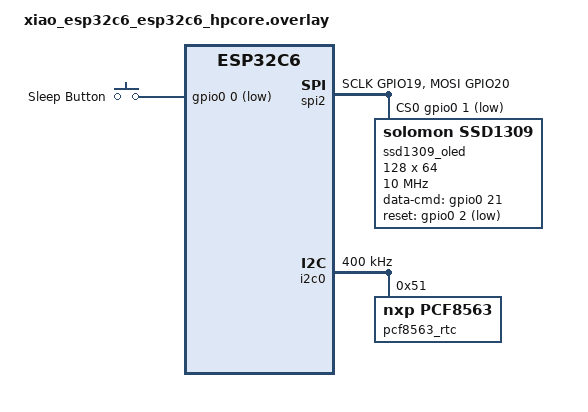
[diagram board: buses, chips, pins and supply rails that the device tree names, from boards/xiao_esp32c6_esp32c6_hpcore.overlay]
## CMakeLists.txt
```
#-------------------------------------------------------------------------------
# Zephyr Example Application
#
# Copyright (c) 2021 Nordic Semiconductor ASA
# SPDX-License-Identifier: Apache-2.0

cmake_minimum_required(VERSION 3.13.1)
find_package(Zephyr REQUIRED HINTS $ENV{ZEPHYR_BASE})

project(app LANGUAGES C)

target_sources(app PRIVATE
  src/main.c
  src/gui.c
  src/time_utils.c
  src/wifi.c
  src/power.c
  src/icons.c
  src/spleen.c
)
target_sources_ifdef(CONFIG_APP_WEB_DEBUG app PRIVATE
  src/log_backend_web.c
  src/http_log_server.c
)
target_include_directories(app PRIVATE include)

# Linker fragment for HTTP_RESOURCE_DEFINE iterable-alternate section
if(CONFIG_APP_WEB_DEBUG)
  zephyr_linker_sources(SECTIONS sections-rom.ld)
  zephyr_linker_section(
    NAME http_resource_desc_log_http_service
    KVMA RAM_REGION GROUP RODATA_REGION
  )
endif()

# The code below locates the git index file for this repository and adds it as a dependency for
# the application VERSION file so that if the repo has a new commit added, even if no files in
# the build have changed, the application version file will be regenerated with the new git commit
find_package(Git QUIET)
if(GIT_FOUND)
  execute_process(
    COMMAND ${GIT_EXECUTABLE} rev-parse --absolute-git-dir
    WORKING_DIRECTORY .
    OUTPUT_VARIABLE application_git_dir
    OUTPUT_STRIP_TRAILING_WHITESPACE
    ERROR_STRIP_TRAILING_WHITESPACE
    ERROR_VARIABLE stderr
    RESULT_VARIABLE return_code
  )
  # If there is an error e.g. it is not a git repo, we just silently ignore it and continue
  # without a dependency, this will be the case with freestanding applications.
  if(NOT return_code)
    if(NOT "${stderr}" STREQUAL "")
      message(WARNING "Application build version git rev-parse warned: ${stderr}")
    endif()

    set_property(TARGET app_version_h PROPERTY APP_VERSION_DEPENDS ${application_git_dir}/index)
  endif()
endif()
```

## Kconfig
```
# Copyright (c) 2021 Nordic Semiconductor ASA
# SPDX-License-Identifier: Apache-2.0
#
# This file is the application Kconfig entry point. All application Kconfig
# options can be defined here or included via other application Kconfig files.
# You can browse these options using the west targets menuconfig (terminal) or
# guiconfig (GUI).

menu "Zephyr"
source "Kconfig.zephyr"
endmenu

module = APP
module-str = APP
source "subsys/logging/Kconfig.template.log_config"

config APP_WEB_DEBUG
	bool "Enable HTTP log viewer + keep WiFi connected longer for debug"
	default n
	help
	  When enabled, the in-RAM log backend is exposed over HTTP on :80
	  and WiFi stays up for WEB_LOG_WINDOW_SECONDS after boot. When
	  disabled (release build), WiFi only stays up long enough to sync
	  NTP, then disconnects; device auto-sleeps soon after.
```

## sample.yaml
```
sample:
  description: LVGL animation with SSD1309 display and PCF8563 RTC on XIAO ESP32-C6
  name: time-since
common:
  build_only: true
  integration_platforms:
    - xiao_esp32c6/esp32c6/hpcore
tests:
  app.default: {}
```

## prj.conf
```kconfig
# Required for LVGL + display work on this app
CONFIG_MAIN_STACK_SIZE=8192

# Peripherals
CONFIG_DISPLAY=y
CONFIG_RTC=y

# LVGL core
CONFIG_LVGL=y
CONFIG_LV_Z_MEM_POOL_SIZE=8192
CONFIG_LV_Z_VDB_SIZE=64

# SSD1309 is monochrome
CONFIG_LV_COLOR_DEPTH_1=y
CONFIG_LV_Z_COLOR_MONO_HW_INVERSION=y

# Widgets/fonts used by this app
CONFIG_LV_USE_LABEL=y
CONFIG_LV_USE_LINE=y
CONFIG_LV_FONT_MONTSERRAT_14=y
CONFIG_LV_FONT_MONTSERRAT_10=y

# Per-device runtime power management. Lets idle peripherals (I2C, etc.)
# suspend between transactions. CONFIG_PM (system sleep) MUST stay off
# on this board — deep sleep is entered explicitly via sys_poweroff().
CONFIG_PM_DEVICE=y
CONFIG_PM_DEVICE_RUNTIME=y

# GPIO (sleep button) and reboot/poweroff
CONFIG_GPIO=y
CONFIG_REBOOT=y
CONFIG_POWEROFF=y

# Compiler — size optimizations reduce flash reads and overall power
CONFIG_SIZE_OPTIMIZATIONS=y

# ESP32 WiFi stack + NTP heap headroom
CONFIG_HEAP_MEM_POOL_SIZE=46144

# Logging — deferred mode, no UART backend. UART must stay off on this board
# (enabling the serial console freezes the device).
CONFIG_LOG=y
CONFIG_LOG_MODE_DEFERRED=y
CONFIG_LOG_DEFAULT_LEVEL=3
CONFIG_LOG_OUTPUT=y
CONFIG_LOG_PROCESS_THREAD_STACK_SIZE=2048
CONFIG_CONSOLE=n
CONFIG_UART_CONSOLE=n
CONFIG_LOG_BACKEND_UART=n
CONFIG_SERIAL=n

# WiFi (needed for NTP)
CONFIG_NETWORKING=y
CONFIG_WIFI=y
CONFIG_NET_L2_WIFI_MGMT=y
CONFIG_NET_CONFIG_SETTINGS=y
CONFIG_NET_CONFIG_INIT_TIMEOUT=0

# ESP32 WiFi: scan all 2.4 GHz channels, pick strongest, auto-reconnect.
# Modem sleep (WIFI_PS_MAX_MODEM) is set at runtime via NET_REQUEST_WIFI_PS
# in src/wifi.c after connect.
CONFIG_ESP32_WIFI_STA_SCAN_ALL=y
CONFIG_ESP32_WIFI_STA_RECONNECT=y

# DHCP
CONFIG_NET_IPV4=y
CONFIG_NET_DHCPV4=y

# Hostname for router DHCP table
CONFIG_NET_HOSTNAME_ENABLE=y
CONFIG_NET_HOSTNAME="time-since-box"

# NTP for time synchronization
CONFIG_SNTP=y
CONFIG_NET_SOCKETS=y
CONFIG_POSIX_API=y

# DNS resolver (needed for time.cloudflare.com)
CONFIG_DNS_RESOLVER=y
CONFIG_NET_SOCKETS_DNS_TIMEOUT=5000
```

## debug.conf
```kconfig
# Overlay for debug builds: enables the HTTP log viewer on :80.
# Use:  west build -b xiao_esp32c6/esp32c6/hpcore app -- -DEXTRA_CONF_FILE=debug.conf

CONFIG_APP_WEB_DEBUG=y

# HTTP server (serves / and /logs)
CONFIG_HTTP_SERVER=y
CONFIG_HTTP_PARSER=y
CONFIG_NET_TCP=y
CONFIG_NET_SOCKETS_POLL_MAX=6
CONFIG_HTTP_SERVER_MAX_CLIENTS=1
CONFIG_HTTP_SERVER_MAX_STREAMS=2
CONFIG_HTTP_SERVER_STACK_SIZE=2560

# Hostname (router DHCP + log viewer URL)
CONFIG_NET_HOSTNAME_ENABLE=y
CONFIG_NET_HOSTNAME="time-since-box"

# Bigger heap — webserver + HTML scratch need headroom
CONFIG_HEAP_MEM_POOL_SIZE=16384
```

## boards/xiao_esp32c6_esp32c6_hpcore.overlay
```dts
#include <zephyr/dt-bindings/i2c/i2c.h>
#include <zephyr/dt-bindings/pinctrl/esp32c6-pinctrl.h>

/ {
	chosen {
		zephyr,display = &ssd1309_oled;
	};

	aliases {
		rtc = &pcf8563_rtc;
		sw0 = &sleep_button;
	};

	buttons {
		compatible = "gpio-keys";
		sleep_button: sleep_button {
			gpios = <&gpio0 0 (GPIO_PULL_UP | GPIO_ACTIVE_LOW)>;
			label = "Sleep Button";
		};
	};
};

&pinctrl {
	spi2_oled_pins: spi2_oled_pins {
		group1 {
			pinmux = <SPIM2_SCLK_GPIO19>;
		};

		group2 {
			pinmux = <SPIM2_MOSI_GPIO20>;
			output-low;
		};
	};

	i2c0_rtc_pins: i2c0_rtc_pins {
		group1 {
			pinmux = <I2C0_SDA_GPIO22>,
				 <I2C0_SCL_GPIO23>;
			bias-pull-up;
			drive-open-drain;
			output-high;
		};
	};
};

&spi2 {
	status = "okay";
	pinctrl-0 = <&spi2_oled_pins>;
	pinctrl-names = "default";
	cs-gpios = <&gpio0 1 GPIO_ACTIVE_LOW>;

	ssd1309_oled: ssd1309@0 {
		compatible = "solomon,ssd1309";
		reg = <0>;
		spi-max-frequency = <10000000>;
		width = <128>;
		height = <64>;
		segment-offset = <0>;
		page-offset = <0>;
		display-offset = <0>;
		multiplex-ratio = <63>;
		segment-remap;
		com-invdir;
		prechargep = <0x22>;
		data-cmd-gpios = <&gpio0 21 GPIO_ACTIVE_HIGH>;
		reset-gpios = <&gpio0 2 GPIO_ACTIVE_LOW>;
		inversion-on;
		status = "okay";
	};
};

&i2c0 {
	status = "okay";
	clock-frequency = <I2C_BITRATE_FAST>;
	pinctrl-0 = <&i2c0_rtc_pins>;
	pinctrl-names = "default";

	pcf8563_rtc: pcf8563@51 {
		compatible = "nxp,pcf8563";
		reg = <0x51>;
		status = "okay";
	};
};
```

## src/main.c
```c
/*
 * SPDX-License-Identifier: Apache-2.0
 */

#include <errno.h>
#include <stdbool.h>
#include <time.h>

#include <lvgl.h>

#include <zephyr/device.h>
#include <zephyr/devicetree.h>
#include <zephyr/drivers/display.h>
#include <zephyr/drivers/gpio.h>
#include <zephyr/drivers/rtc.h>
#include <zephyr/kernel.h>
#include <zephyr/logging/log.h>
#include <zephyr/pm/device.h>

#include "gui.h"
#include "power.h"
#include "time_utils.h"
#include "wifi.h"

LOG_MODULE_REGISTER(main, LOG_LEVEL_DBG);

static const struct device *const rtc = DEVICE_DT_GET(DT_ALIAS(rtc));
static const struct gpio_dt_spec sleep_btn = GPIO_DT_SPEC_GET(DT_ALIAS(sw0), gpios);

static const uint32_t AUTO_SLEEP_SECONDS = 180;
static const uint32_t BTN_WAKE_GRACE_SECONDS = 3;
static const int64_t BTN_RELEASE_STABLE_MS = 50;
static const int64_t BTN_RELEASE_POLL_MS = 10;
static const uint32_t WIFI_PER_NET_TIMEOUT_MS = 8000;
static const int NTP_MAX_ATTEMPTS = 3;
static const uint32_t NTP_RETRY_DELAY_SECONDS = 5;
static const uint32_t WIFI_SYNC_ICON_MIN_SECONDS = 3;
static const int64_t WIFI_SYNC_ICON_BLINK_MS = 300;
static const int64_t GUI_TICK_MS = 100;

static struct gpio_callback sleep_btn_cb_data;
static volatile bool sleep_requested;
static volatile bool time_sync_blink;

static time_t base_epoch;
static int64_t base_uptime_ms;
static K_MUTEX_DEFINE(time_base_lock);
static K_THREAD_STACK_DEFINE(time_sync_stack, 6144);
static struct k_thread time_sync_thread_data;

static void sleep_btn_pressed(const struct device *dev, struct gpio_callback *cb,
			      uint32_t pins)
{
	sleep_requested = true;
}

static void capture_base(time_t epoch)
{
	k_mutex_lock(&time_base_lock, K_FOREVER);
	base_epoch = epoch;
	base_uptime_ms = k_uptime_get();
	k_mutex_unlock(&time_base_lock);
}

static time_t current_epoch(void)
{
	time_t epoch;
	int64_t uptime_ms;
	int64_t delta_ms;

	k_mutex_lock(&time_base_lock, K_FOREVER);
	epoch = base_epoch;
	uptime_ms = base_uptime_ms;
	k_mutex_unlock(&time_base_lock);

	if (epoch == 0) {
		return 0;
	}

	delta_ms = k_uptime_get() - uptime_ms;
	return epoch + delta_ms / 1000;
}

static bool read_rtc_epoch(time_t *out)
{
	struct rtc_time rt = { 0 };

	if (!device_is_ready(rtc) || rtc_get_time(rtc, &rt) != 0) {
		return false;
	}

	*out = time_utils_rtc_to_epoch_utc(&rt);
	return true;
}

static uint32_t elapsed_seconds(void)
{
	time_t start = time_utils_start_epoch_utc();
	time_t epoch = current_epoch();

	if (epoch == 0 || epoch <= start) {
		return 0;
	}

	return (uint32_t)(epoch - start);
}

static void ntp_retry_started(int ret, void *user_data)
{
	ARG_UNUSED(ret);
	ARG_UNUSED(user_data);

	time_sync_blink = true;
}

static bool wifi_icon_active(int64_t sync_icon_min_until_ms)
{
	bool active = wifi_is_connected() || k_uptime_get() < sync_icon_min_until_ms;

	if (active && time_sync_blink) {
		return ((k_uptime_get() / WIFI_SYNC_ICON_BLINK_MS) % 2) == 0;
	}

	return active;
}

static void time_sync_thread(void *arg1, void *arg2, void *arg3)
{
	time_t before_sync;
	time_t synced_epoch;
	int ret;

	ARG_UNUSED(arg1);
	ARG_UNUSED(arg2);
	ARG_UNUSED(arg3);

	LOG_INF("Time sync thread started");

	if (wifi_connect_any(WIFI_PER_NET_TIMEOUT_MS) != 0) {
		time_sync_blink = false;
		return;
	}

	before_sync = current_epoch();
	ret = wifi_sync_ntp(NTP_MAX_ATTEMPTS, NTP_RETRY_DELAY_SECONDS,
			    ntp_retry_started, NULL);
	if (ret != 0) {
		goto out;
	}

	if (!read_rtc_epoch(&synced_epoch)) {
		goto out;
	}

	capture_base(synced_epoch);

	if (before_sync != 0) {
		LOG_INF("NTP adjusted elapsed base by %lld seconds",
			(long long)(synced_epoch - before_sync));
	}

out:
	wifi_disconnect();
	time_sync_blink = false;
}

/*
 * Block until the sleep button has been released (logical inactive) continuously
 * for BTN_RELEASE_STABLE_MS. Deep-sleep wake is level-triggered on GPIO LOW, so
 * arming it while the button is still held would wake the chip immediately. A
 * no-op if the GPIO is not ready, so it can never hang.
 */
static void wait_button_released(void)
{
	int64_t released_since_ms = -1;

	if (!gpio_is_ready_dt(&sleep_btn)) {
		return;
	}

	while (true) {
		if (gpio_pin_get_dt(&sleep_btn) == 0) {
			if (released_since_ms < 0) {
				released_since_ms = k_uptime_get();
			} else if (k_uptime_get() - released_since_ms >=
				   BTN_RELEASE_STABLE_MS) {
				return;
			}
		} else {
			released_since_ms = -1;
		}

		k_sleep(K_MSEC(BTN_RELEASE_POLL_MS));
	}
}

static void enter_sleep(const struct device *display)
{
	LOG_INF("Sleep");
	wifi_disconnect();
	display_blanking_on(display);
	(void)pm_device_action_run(display, PM_DEVICE_ACTION_SUSPEND);
	wait_button_released();
	(void)power_enter_deep_sleep(&sleep_btn);
}

int main(void)
{
	const struct device *display;
	struct gui_ctx gui;
	time_t epoch;
	int64_t boot_uptime_ms;
	int64_t wifi_sync_icon_min_until_ms;

	LOG_INF("main() started");

	display = DEVICE_DT_GET(DT_CHOSEN(zephyr_display));
	if (display == NULL || !device_is_ready(display)) {
		LOG_ERR("display not ready");
		return 0;
	}

	if (read_rtc_epoch(&epoch) && epoch > time_utils_start_epoch_utc()) {
		capture_base(epoch);
		LOG_INF("RTC valid, base epoch=%lld", (long long)epoch);
	}

	gui_init(&gui, elapsed_seconds());
	lv_timer_handler();

	int ret = display_blanking_off(display);
	if (ret < 0 && ret != -ENOSYS) {
		LOG_ERR("display blanking off failed (%d)", ret);
		return 0;
	}

	if (gpio_is_ready_dt(&sleep_btn)) {
		gpio_pin_configure_dt(&sleep_btn, GPIO_INPUT);
		gpio_init_callback(&sleep_btn_cb_data, sleep_btn_pressed,
				   BIT(sleep_btn.pin));
		gpio_add_callback(sleep_btn.port, &sleep_btn_cb_data);
		gpio_pin_interrupt_configure_dt(&sleep_btn, GPIO_INT_EDGE_TO_ACTIVE);
	} else {
		LOG_ERR("Sleep button GPIO not ready");
	}

	wifi_module_init();
	time_sync_blink = false;
	boot_uptime_ms = k_uptime_get();
	wifi_sync_icon_min_until_ms = boot_uptime_ms +
				      WIFI_SYNC_ICON_MIN_SECONDS * MSEC_PER_SEC;

	k_thread_create(&time_sync_thread_data, time_sync_stack,
			K_THREAD_STACK_SIZEOF(time_sync_stack),
			time_sync_thread, NULL, NULL, NULL,
			K_PRIO_PREEMPT(8), 0, K_NO_WAIT);
	k_thread_name_set(&time_sync_thread_data, "time_sync");

	while (1) {
		uint32_t boot_seconds =
			(uint32_t)((k_uptime_get() - boot_uptime_ms) / MSEC_PER_SEC);
		bool may_sleep = boot_seconds >= BTN_WAKE_GRACE_SECONDS;

		/*
		 * Discard any button press during the boot grace window: the wake
		 * press (and any hold-to-boot) lands here and must not shut the
		 * device back down. Shutdown needs a fresh press after the grace.
		 */
		if (!may_sleep) {
			sleep_requested = false;
		} else if (sleep_requested || boot_seconds >= AUTO_SLEEP_SECONDS) {
			enter_sleep(display);
		}

		gui_set_counter(&gui, elapsed_seconds());
		gui_set_wifi_active(&gui,
				    wifi_icon_active(wifi_sync_icon_min_until_ms));
		lv_timer_handler();
		k_sleep(K_MSEC(GUI_TICK_MS));
	}
}
```

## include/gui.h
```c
#ifndef GUI_H
#define GUI_H

#include <stdbool.h>
#include <stdint.h>

#include <lvgl.h>

LV_FONT_DECLARE(lv_font_icons);
LV_FONT_DECLARE(lv_font_spleen);


struct gui_ctx {
	lv_obj_t *counter_label;
	lv_obj_t *wifi_label;
	lv_style_t counter_label_style;
	lv_style_t wifi_label_style;
	char counter_buf[64];
	uint32_t last_elapsed;
	bool last_wifi_active;
};

void gui_init(struct gui_ctx *ctx, uint32_t initial_elapsed);
void gui_set_counter(struct gui_ctx *ctx, uint32_t elapsed);
void gui_set_wifi_active(struct gui_ctx *ctx, bool active);

#endif /* GUI_H */
```

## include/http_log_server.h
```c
#ifndef HTTP_LOG_SERVER_H
#define HTTP_LOG_SERVER_H

/**
 * Start the HTTP server that exposes the in-RAM log ring buffer.
 *
 * Idempotent — safe to call once WiFi is initialised. The HTTP server
 * background thread waits for DHCP to assign an IP before accept(2) succeeds.
 */
int http_log_server_start(void);

/**
 * Stop the HTTP server. After this, /logs is no longer reachable until the
 * next http_log_server_start() call.
 */
int http_log_server_stop(void);

#endif
```

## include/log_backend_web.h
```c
#ifndef LOG_BACKEND_WEB_H
#define LOG_BACKEND_WEB_H

#include <stddef.h>
#include <stdint.h>

/**
 * Copy a snapshot of the most recent log bytes into @p dst.
 *
 * The ring buffer is NOT consumed. Repeated calls return overlapping data
 * (the rolling window), so the HTTP handler can be polled by a browser.
 */
size_t log_backend_web_snapshot(uint8_t *dst, size_t max);

#endif
```

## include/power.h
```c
#ifndef POWER_H
#define POWER_H

#include <zephyr/drivers/gpio.h>

int power_enter_deep_sleep(const struct gpio_dt_spec *wake_button);

#endif /* POWER_H */
```

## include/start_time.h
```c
#ifndef START_TIME_H
#define START_TIME_H

#include <zephyr/drivers/rtc.h>

/**
 * @brief Start date/time configuration (treated as Berlin local time)
 *
 * Fields:
 * - tm_year: year since 1900 (2025 -> 125)
 * - tm_mon:  0-indexed (0=Jan, 4=May, 11=Dec)
 * - tm_mday: 1-31
 * - tm_hour: 0-23
 * - tm_min:  0-59
 * - tm_sec:  0-59
 */

static const struct rtc_time START_TIME = {
	.tm_year = 125,    /* 2025 */
	.tm_mon = 4,       /* May */
	.tm_mday = 15,
	.tm_hour = 22,
	.tm_min = 0,
	.tm_sec = 0,
};

#endif /* START_TIME_H */
```

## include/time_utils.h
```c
#ifndef TIME_UTILS_H
#define TIME_UTILS_H

#include <stddef.h>
#include <stdint.h>
#include <time.h>

#include <zephyr/drivers/rtc.h>

void time_utils_format_elapsed(uint32_t elapsed, char *buf, size_t len);
time_t time_utils_berlin_local_to_epoch_utc(const struct rtc_time *timeptr);
time_t time_utils_rtc_to_epoch_utc(const struct rtc_time *timeptr);
time_t time_utils_start_epoch_utc(void);

#endif /* TIME_UTILS_H */
```

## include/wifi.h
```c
#ifndef WIFI_H
#define WIFI_H

#include <stdbool.h>
#include <stdint.h>

typedef void (*wifi_ntp_retry_cb_t)(int ret, void *user_data);

void wifi_module_init(void);

/**
 * Try each entry in known_networks[] once, with the given per-network
 * connect timeout. Returns 0 on success, -ETIMEDOUT if all networks fail.
 */
int wifi_connect_any(uint32_t per_network_timeout_ms);

/**
 * Try sntp_simple up to max_attempts times against time.cloudflare.com,
 * 3s timeout per attempt, and the given delay between failed attempts.
 * retry_cb is called before waiting for another attempt.
 * On success, writes RTC. Returns 0 on success.
 */
int wifi_sync_ntp(int max_attempts, uint32_t retry_delay_seconds,
		  wifi_ntp_retry_cb_t retry_cb, void *user_data);

bool wifi_is_connected(void);

void wifi_disconnect(void);

#endif /* WIFI_H */
```

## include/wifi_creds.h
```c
#ifndef WIFI_CREDS_H
#define WIFI_CREDS_H
#include <zephyr/net/wifi_mgmt.h>


/**
 * @brief WiFi network credentials
 *
 * Add or modify networks here to connect to known WiFi networks
 */

struct wifi_network {
  const char *ssid;
  const char *password;
  const char *security; /* "open", "wpa2", "wpa3" */
};

/* Known WiFi networks */
static const struct wifi_network known_networks[] = {
    {.ssid = "FRITZ!Box 7490 MR", .password = "37727439968591318573", .security = "wpa2"},
    {.ssid = "Hein", .password = "paulhein1!", .security = "wpa2"},
    /* Add more networks here as needed */
};

#define KNOWN_NETWORKS_COUNT                                                   \
  (sizeof(known_networks) / sizeof(known_networks[0]))

#endif /* WIFI_CREDS_H */
```

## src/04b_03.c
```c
/*******************************************************************************
 * Size: 14 px
 * Bpp: 1
 * Opts: --bpp 1 --size 14 --no-compress --stride 1 --align 1 --font 04B_03__.TTF --symbols !"#$%&'()*+,-./0123456789:;<=>?@ABCDEFGHIJKLMNOPQRSTUVWXYZ[\]^_`abcdefghijklmnopqrstuvwxyz{|}~ÄÖÜäöüß€°± --font fontawesome-webfont.ttf --range 61931,61553,62016,62018 --format lvgl -o 04b_03.c
 ******************************************************************************/

#ifdef __has_include
    #if __has_include("lvgl.h")
        #ifndef LV_LVGL_H_INCLUDE_SIMPLE
            #define LV_LVGL_H_INCLUDE_SIMPLE
        #endif
    #endif
#endif

#ifdef LV_LVGL_H_INCLUDE_SIMPLE
    #include "lvgl.h"
#else
    #include "lvgl/lvgl.h"
#endif



#ifndef FONT04B03
#define FONT04B03 1
#endif

#if FONT04B03

/*-----------------
 *    BITMAPS
 *----------------*/

/*Store the image of the glyphs*/
static LV_ATTRIBUTE_LARGE_CONST const uint8_t glyph_bitmap[] = {
    /* U+0021 "!" */
    0xff, 0xc3, 0xc0,

    /* U+0022 "\"" */
    0xde, 0xf6,

    /* U+0023 "#" */
    0x33, 0x19, 0xbf, 0xff, 0xf3, 0x37, 0xff, 0xfe,
    0x66, 0x33, 0x0,

    /* U+0024 "$" */
    0x8, 0x10, 0xf9, 0xff, 0x1, 0xc3, 0xfc, 0xf8,
    0x10, 0x20,

    /* U+0025 "%" */
    0xc6, 0x63, 0x1, 0x80, 0x0, 0x80, 0x40, 0xc0,
    0x63, 0x31, 0x80,

    /* U+0026 "&" */
    0x38, 0x1c, 0x30, 0x18, 0x3, 0x9f, 0xff, 0x18,
    0x73, 0x39, 0x80,

    /* U+0027 "'" */
    0xfc,

    /* U+0028 "(" */
    0x33, 0xcc, 0xcc, 0xc3, 0x30,

    /* U+0029 ")" */
    0xcc, 0x33, 0x33, 0x3c, 0xc0,

    /* U+002A "*" */
    0xce, 0x4c, 0x6c, 0xe4,

    /* U+002B "+" */
    0x37, 0xfe, 0x63, 0x0,

    /* U+002C "," */
    0x33, 0xcc,

    /* U+002D "-" */
    0xff, 0xc0,

    /* U+002E "." */
    0xf0,

    /* U+002F "/" */
    0x1, 0x80, 0xc1, 0x80, 0xc0, 0x81, 0x80, 0xc1,
    0x80, 0xc0, 0x0,

    /* U+0030 "0" */
    0x38, 0x73, 0x1e, 0x3c, 0x78, 0xf1, 0x9c, 0x38,

    /* U+0031 "1" */
    0xff, 0x33, 0x33, 0x33, 0x30,

    /* U+0032 "2" */
    0xf9, 0xf0, 0x18, 0x33, 0x9f, 0x30, 0x7f, 0xfe,

    /* U+0033 "3" */
    0xf9, 0xf0, 0x18, 0x37, 0x80, 0xc1, 0xfc, 0xf8,

    /* U+0034 "4" */
    0x18, 0x30, 0xe1, 0xcd, 0x9f, 0xff, 0x8c, 0x18,

    /* U+0035 "5" */
    0xff, 0xff, 0x6, 0xf, 0x80, 0xc1, 0xfc, 0xf8,

    /* U+0036 "6" */
    0x38, 0x73, 0x6, 0xf, 0x9f, 0xf1, 0x9c, 0x38,

    /* U+0037 "7" */
    0xff, 0xfc, 0x8, 0x10, 0xc1, 0x8c, 0x18, 0x30,

    /* U+0038 "8" */
    0x38, 0x73, 0x1e, 0x33, 0x9f, 0xf1, 0x9c, 0x38,

    /* U+0039 "9" */
    0x38, 0x73, 0x1e, 0x33, 0xe7, 0xc1, 0x9c, 0x38,

    /* U+003A ":" */
    0xf0, 0xf0,

    /* U+003B ";" */
    0xf0, 0xfc,

    /* U+003C "<" */
    0x8, 0x4c, 0x6c, 0x18, 0xc1, 0x8,

    /* U+003D "=" */
    0xff, 0xc0, 0xf, 0xfc,

    /* U+003E ">" */
    0xc6, 0xc, 0x60, 0x98, 0xd8, 0xc0,

    /* U+003F "?" */
    0xfd, 0xf8, 0x8, 0x13, 0xc7, 0x80, 0x18, 0x30,

    /* U+0040 "@" */
    0x3e, 0x1f, 0x30, 0x78, 0x3d, 0xfe, 0xff, 0x66,
    0x7c, 0x3e, 0x0,

    /* U+0041 "A" */
    0x38, 0x73, 0x1e, 0x3c, 0x7f, 0xff, 0xe3, 0xc6,

    /* U+0042 "B" */
    0xf9, 0xf3, 0x1e, 0x3f, 0x9f, 0xf1, 0xfc, 0xf8,

    /* U+0043 "C" */
    0x39, 0xf1, 0x8c, 0x63, 0x7, 0x38,

    /* U+0044 "D" */
    0xf9, 0xf3, 0x1e, 0x3c, 0x78, 0xf1, 0xfc, 0xf8,

    /* U+0045 "E" */
    0xff, 0xfc, 0x30, 0xff, 0xfc, 0x3f, 0xfc,

    /* U+0046 "F" */
    0xff, 0xfc, 0x30, 0xff, 0xfc, 0x30, 0xc0,

    /* U+0047 "G" */
    0x3e, 0x7f, 0x6, 0xd, 0xfb, 0xf1, 0x9f, 0x3e,

    /* U+0048 "H" */
    0xc7, 0x8f, 0x1e, 0x3f, 0xff, 0xf1, 0xe3, 0xc6,

    /* U+0049 "I" */
    0xff, 0xcc, 0x63, 0x18, 0xdf, 0xf8,

    /* U+004A "J" */
    0x1e, 0x3c, 0x18, 0x30, 0x78, 0xf1, 0x9c, 0x38,

    /* U+004B "K" */
    0xc7, 0x8f, 0x66, 0xcf, 0x1b, 0x36, 0x63, 0xc6,

    /* U+004C "L" */
    0xc3, 0xc, 0x30, 0xc3, 0xc, 0x3f, 0xfc,

    /* U+004D "M" */
    0xc1, 0xe0, 0xfd, 0xfe, 0xfd, 0x9e, 0xcf, 0x7,
    0x83, 0xc1, 0x80,

    /* U+004E "N" */
    0xc7, 0x8f, 0xdf, 0xbd, 0xfb, 0xf1, 0xe3, 0xc6,

    /* U+004F "O" */
    0x38, 0x73, 0x1e, 0x3c, 0x78, 0xf1, 0x9c, 0x38,

    /* U+0050 "P" */
    0xf9, 0xf3, 0x1e, 0x3c, 0x7f, 0x3e, 0x60, 0xc0,

    /* U+0051 "Q" */
    0x38, 0x73, 0x1e, 0x3c, 0x78, 0xf1, 0x9c, 0x38,
    0xc, 0x18,

    /* U+0052 "R" */
    0xf9, 0xf3, 0x1e, 0x3c, 0x7f, 0x3e, 0x63, 0xc6,

    /* U+0053 "S" */
    0x3e, 0x7f, 0x6, 0x3, 0x80, 0xc1, 0xfc, 0xf8,

    /* U+0054 "T" */
    0xff, 0xcc, 0x63, 0x18, 0xc6, 0x30,

    /* U+0055 "U" */
    0xc7, 0x8f, 0x1e, 0x3c, 0x78, 0xf1, 0x9c, 0x38,

    /* U+0056 "V" */
    0xc7, 0x8f, 0x1e, 0xc, 0x99, 0x32, 0x18, 0x30,

    /* U+0057 "W" */
    0xc1, 0xe0, 0xf2, 0x79, 0x3c, 0x9e, 0x4f, 0x26,
    0x6c, 0x36, 0x0,

    /* U+0058 "X" */
    0xc7, 0x8f, 0x18, 0x3, 0x87, 0x31, 0xe3, 0xc6,

    /* U+0059 "Y" */
    0xc7, 0x8f, 0x18, 0x33, 0xe7, 0xc1, 0x9c, 0x38,

    /* U+005A "Z" */
    0xff, 0xc2, 0x13, 0x7b, 0x1f, 0xf8,

    /* U+005B "[" */
    0xff, 0xcc, 0xcc, 0xcf, 0xf0,

    /* U+005C "\\" */
    0xc0, 0x60, 0xc, 0x6, 0x0, 0x80, 0x30, 0x18,
    0x3, 0x1, 0x80,

    /* U+005D "]" */
    0xff, 0x33, 0x33, 0x3f, 0xf0,

    /* U+005E "^" */
    0x31, 0xb3, 0x90,

    /* U+005F "_" */
    0xff, 0xfc,

    /* U+0060 "`" */
    0xcc, 0x33,

    /* U+0061 "a" */
    0x3e, 0x7f, 0x1e, 0x3c, 0x67, 0xcf, 0x80,

    /* U+0062 "b" */
    0xc1, 0x83, 0xe7, 0xcc, 0x78, 0xf1, 0xfc, 0xf8,

    /* U+0063 "c" */
    0x39, 0xf1, 0x8c, 0x1c, 0xe0,

    /* U+0064 "d" */
    0x6, 0xc, 0xf9, 0xfc, 0x78, 0xf1, 0x9f, 0x3e,

    /* U+0065 "e" */
    0x38, 0x73, 0x7e, 0xff, 0x7, 0xe, 0x0,

    /* U+0066 "f" */
    0x8, 0x4c, 0x6f, 0xfc, 0xc6, 0x30,

    /* U+0067 "g" */
    0x3f, 0xff, 0x1e, 0x34, 0x67, 0xcf, 0x83, 0x38,
    0x70,

    /* U+0068 "h" */
    0xc1, 0x83, 0xe7, 0xcc, 0x78, 0xf1, 0xe3, 0xc6,

    /* U+0069 "i" */
    0xf0, 0xff, 0xc0,

    /* U+006A "j" */
    0x33, 0x3, 0x33, 0x33, 0x33, 0xcc,

    /* U+006B "k" */
    0xc1, 0x83, 0x1e, 0x3d, 0x9f, 0x3e, 0x63, 0xc6,

    /* U+006C "l" */
    0xff, 0xff, 0xc0,

    /* U+006D "m" */
    0xfe, 0x7f, 0x36, 0x7b, 0x3d, 0x9e, 0xcf, 0x66,

    /* U+006E "n" */
    0xf9, 0xf3, 0x1e, 0x3c, 0x78, 0xf1, 0x80,

    /* U+006F "o" */
    0x38, 0x73, 0x1e, 0x3c, 0x67, 0xe, 0x0,

    /* U+0070 "p" */
    0xf9, 0xff, 0x1e, 0x3c, 0x9f, 0x3e, 0x60, 0xc1,
    0x80,

    /* U+0071 "q" */
    0x3f, 0xff, 0x1e, 0x34, 0x67, 0xcf, 0x83, 0x6,
    0xc,

    /* U+0072 "r" */
    0xde, 0xfd, 0xec, 0x63, 0x0,

    /* U+0073 "s" */
    0x3e, 0x7f, 0xc0, 0x70, 0xff, 0x3e, 0x0,

    /* U+0074 "t" */
    0x31, 0xbf, 0xf3, 0x18, 0xc1, 0x8,

    /* U+0075 "u" */
    0xc7, 0x8f, 0x1e, 0x3c, 0x67, 0xcf, 0x80,

    /* U+0076 "v" */
    0xc7, 0x8f, 0x1e, 0x4c, 0x86, 0xc, 0x0,

    /* U+0077 "w" */
    0xc9, 0xe4, 0xf2, 0x60, 0x3, 0x61, 0xb0, 0xd8,

    /* U+0078 "x" */
    0xce, 0x4c, 0x63, 0x67, 0x20,

    /* U+0079 "y" */
    0xc7, 0x8f, 0x1e, 0x3c, 0x67, 0xcf, 0x83, 0x3e,
    0x70,

    /* U+007A "z" */
    0xff, 0xfc, 0x21, 0xc3, 0x1f, 0xff, 0x80,

    /* U+007B "{" */
    0x3c, 0xf3, 0xc, 0xc3, 0xc3, 0xf, 0x3c,

    /* U+007C "|" */
    0xff, 0xff, 0xc0,

    /* U+007D "}" */
    0xf3, 0xc3, 0xc, 0xc, 0xf3, 0x3c, 0xf0,

    /* U+007E "~" */
    0x36, 0x6f, 0x26, 0x40,

    /* U+F071 "" */
    0x3, 0x0, 0xc, 0x0, 0x78, 0x3, 0xe0, 0xc,
    0xc0, 0x73, 0x81, 0xce, 0xf, 0x3c, 0x3f, 0xf1,
    0xf3, 0xe7, 0xcf, 0xbf, 0xff, 0xff, 0xfc,

    /* U+F1EB "" */
    0xf, 0xe0, 0x7f, 0xf1, 0xe0, 0xf7, 0x3e, 0x71,
    0xff, 0x7, 0x7, 0x5, 0xf4, 0x7, 0xf0, 0x4,
    0x40, 0x7, 0x0, 0x4, 0x0,

    /* U+F240 "" */
    0xff, 0xff, 0xa0, 0x0, 0x2b, 0xff, 0xea, 0xff,
    0xfb, 0xbf, 0xfe, 0x6f, 0xff, 0x9b, 0xff, 0xee,
    0xff, 0xfa, 0x80, 0x0, 0xbf, 0xff, 0xe0,

    /* U+F242 "" */
    0xff, 0xff, 0xa0, 0x0, 0x2b, 0xf8, 0xa, 0xfe,
    0x3, 0xbf, 0x80, 0x6f, 0xe0, 0x1b, 0xf8, 0xe,
    0xfe, 0x2, 0x80, 0x0, 0xbf, 0xff, 0xe0
};


/*---------------------
 *  GLYPH DESCRIPTION
 *--------------------*/

static const lv_font_fmt_txt_glyph_dsc_t glyph_dsc[] = {
    {.bitmap_index = 0, .adv_w = 0, .box_w = 0, .box_h = 0, .ofs_x = 0, .ofs_y = 0} /* id = 0 reserved */,
    {.bitmap_index = 0, .adv_w = 56, .box_w = 2, .box_h = 9, .ofs_x = 0, .ofs_y = 0},
    {.bitmap_index = 3, .adv_w = 112, .box_w = 5, .box_h = 3, .ofs_x = 0, .ofs_y = 6},
    {.bitmap_index = 5, .adv_w = 168, .box_w = 9, .box_h = 9, .ofs_x = 0, .ofs_y = 0},
    {.bitmap_index = 16, .adv_w = 140, .box_w = 7, .box_h = 11, .ofs_x = 0, .ofs_y = -2},
    {.bitmap_index = 26, .adv_w = 168, .box_w = 9, .box_h = 9, .ofs_x = 0, .ofs_y = 0},
    {.bitmap_index = 37, .adv_w = 168, .box_w = 9, .box_h = 9, .ofs_x = 0, .ofs_y = 0},
    {.bitmap_index = 48, .adv_w = 56, .box_w = 2, .box_h = 3, .ofs_x = 0, .ofs_y = 6},
    {.bitmap_index = 49, .adv_w = 84, .box_w = 4, .box_h = 9, .ofs_x = 0, .ofs_y = 0},
    {.bitmap_index = 54, .adv_w = 84, .box_w = 4, .box_h = 9, .ofs_x = 0, .ofs_y = 0},
    {.bitmap_index = 59, .adv_w = 112, .box_w = 5, .box_h = 6, .ofs_x = 0, .ofs_y = 3},
    {.bitmap_index = 63, .adv_w = 112, .box_w = 5, .box_h = 5, .ofs_x = 0, .ofs_y = 2},
    {.bitmap_index = 67, .adv_w = 84, .box_w = 4, .box_h = 4, .ofs_x = 0, .ofs_y = -2},
    {.bitmap_index = 69, .adv_w = 112, .box_w = 5, .box_h = 2, .ofs_x = 0, .ofs_y = 4},
    {.bitmap_index = 71, .adv_w = 56, .box_w = 2, .box_h = 2, .ofs_x = 0, .ofs_y = 0},
    {.bitmap_index = 72, .adv_w = 168, .box_w = 9, .box_h = 9, .ofs_x = 0, .ofs_y = 0},
    {.bitmap_index = 83, .adv_w = 140, .box_w = 7, .box_h = 9, .ofs_x = 0, .ofs_y = 0},
    {.bitmap_index = 91, .adv_w = 84, .box_w = 4, .box_h = 9, .ofs_x = 0, .ofs_y = 0},
    {.bitmap_index = 96, .adv_w = 140, .box_w = 7, .box_h = 9, .ofs_x = 0, .ofs_y = 0},
    {.bitmap_index = 104, .adv_w = 140, .box_w = 7, .box_h = 9, .ofs_x = 0, .ofs_y = 0},
    {.bitmap_index = 112, .adv_w = 140, .box_w = 7, .box_h = 9, .ofs_x = 0, .ofs_y = 0},
    {.bitmap_index = 120, .adv_w = 140, .box_w = 7, .box_h = 9, .ofs_x = 0, .ofs_y = 0},
    {.bitmap_index = 128, .adv_w = 140, .box_w = 7, .box_h = 9, .ofs_x = 0, .ofs_y = 0},
    {.bitmap_index = 136, .adv_w = 140, .box_w = 7, .box_h = 9, .ofs_x = 0, .ofs_y = 0},
    {.bitmap_index = 144, .adv_w = 140, .box_w = 7, .box_h = 9, .ofs_x = 0, .ofs_y = 0},
    {.bitmap_index = 152, .adv_w = 140, .box_w = 7, .box_h = 9, .ofs_x = 0, .ofs_y = 0},
    {.bitmap_index = 160, .adv_w = 56, .box_w = 2, .box_h = 6, .ofs_x = 0, .ofs_y = 1},
    {.bitmap_index = 162, .adv_w = 56, .box_w = 2, .box_h = 7, .ofs_x = 0, .ofs_y = 0},
    {.bitmap_index = 164, .adv_w = 112, .box_w = 5, .box_h = 9, .ofs_x = 0, .ofs_y = 0},
    {.bitmap_index = 170, .adv_w = 112, .box_w = 5, .box_h = 6, .ofs_x = 0, .ofs_y = 1},
    {.bitmap_index = 174, .adv_w = 112, .box_w = 5, .box_h = 9, .ofs_x = 0, .ofs_y = 0},
    {.bitmap_index = 180, .adv_w = 140, .box_w = 7, .box_h = 9, .ofs_x = 0, .ofs_y = 0},
    {.bitmap_index = 188, .adv_w = 168, .box_w = 9, .box_h = 9, .ofs_x = 0, .ofs_y = 0},
    {.bitmap_index = 199, .adv_w = 140, .box_w = 7, .box_h = 9, .ofs_x = 0, .ofs_y = 0},
    {.bitmap_index = 207, .adv_w = 140, .box_w = 7, .box_h = 9, .ofs_x = 0, .ofs_y = 0},
    {.bitmap_index = 215, .adv_w = 112, .box_w = 5, .box_h = 9, .ofs_x = 0, .ofs_y = 0},
    {.bitmap_index = 221, .adv_w = 140, .box_w = 7, .box_h = 9, .ofs_x = 0, .ofs_y = 0},
    {.bitmap_index = 229, .adv_w = 112, .box_w = 6, .box_h = 9, .ofs_x = 0, .ofs_y = 0},
    {.bitmap_index = 236, .adv_w = 112, .box_w = 6, .box_h = 9, .ofs_x = 0, .ofs_y = 0},
    {.bitmap_index = 243, .adv_w = 140, .box_w = 7, .box_h = 9, .ofs_x = 0, .ofs_y = 0},
    {.bitmap_index = 251, .adv_w = 140, .box_w = 7, .box_h = 9, .ofs_x = 0, .ofs_y = 0},
    {.bitmap_index = 259, .adv_w = 112, .box_w = 5, .box_h = 9, .ofs_x = 0, .ofs_y = 0},
    {.bitmap_index = 265, .adv_w = 140, .box_w = 7, .box_h = 9, .ofs_x = 0, .ofs_y = 0},
    {.bitmap_index = 273, .adv_w = 140, .box_w = 7, .box_h = 9, .ofs_x = 0, .ofs_y = 0},
    {.bitmap_index = 281, .adv_w = 112, .box_w = 6, .box_h = 9, .ofs_x = 0, .ofs_y = 0},
    {.bitmap_index = 288, .adv_w = 168, .box_w = 9, .box_h = 9, .ofs_x = 0, .ofs_y = 0},
    {.bitmap_index = 299, .adv_w = 140, .box_w = 7, .box_h = 9, .ofs_x = 0, .ofs_y = 0},
    {.bitmap_index = 307, .adv_w = 140, .box_w = 7, .box_h = 9, .ofs_x = 0, .ofs_y = 0},
    {.bitmap_index = 315, .adv_w = 140, .box_w = 7, .box_h = 9, .ofs_x = 0, .ofs_y = 0},
    {.bitmap_index = 323, .adv_w = 140, .box_w = 7, .box_h = 11, .ofs_x = 0, .ofs_y = -2},
    {.bitmap_index = 333, .adv_w = 140, .box_w = 7, .box_h = 9, .ofs_x = 0, .ofs_y = 0},
    {.bitmap_index = 341, .adv_w = 140, .box_w = 7, .box_h = 9, .ofs_x = 0, .ofs_y = 0},
    {.bitmap_index = 349, .adv_w = 112, .box_w = 5, .box_h = 9, .ofs_x = 0, .ofs_y = 0},
    {.bitmap_index = 355, .adv_w = 140, .box_w = 7, .box_h = 9, .ofs_x = 0, .ofs_y = 0},
    {.bitmap_index = 363, .adv_w = 140, .box_w = 7, .box_h = 9, .ofs_x = 0, .ofs_y = 0},
    {.bitmap_index = 371, .adv_w = 168, .box_w = 9, .box_h = 9, .ofs_x = 0, .ofs_y = 0},
    {.bitmap_index = 382, .adv_w = 140, .box_w = 7, .box_h = 9, .ofs_x = 0, .ofs_y = 0},
    {.bitmap_index = 390, .adv_w = 140, .box_w = 7, .box_h = 9, .ofs_x = 0, .ofs_y = 0},
    {.bitmap_index = 398, .adv_w = 112, .box_w = 5, .box_h = 9, .ofs_x = 0, .ofs_y = 0},
    {.bitmap_index = 404, .adv_w = 84, .box_w = 4, .box_h = 9, .ofs_x = 0, .ofs_y = 0},
    {.bitmap_index = 409, .adv_w = 168, .box_w = 9, .box_h = 9, .ofs_x = 0, .ofs_y = 0},
    {.bitmap_index = 420, .adv_w = 84, .box_w = 4, .box_h = 9, .ofs_x = 0, .ofs_y = 0},
    {.bitmap_index = 425, .adv_w = 112, .box_w = 5, .box_h = 4, .ofs_x = 0, .ofs_y = 5},
    {.bitmap_index = 428, .adv_w = 140, .box_w = 7, .box_h = 2, .ofs_x = 0, .ofs_y = 0},
    {.bitmap_index = 430, .adv_w = 84, .box_w = 4, .box_h = 4, .ofs_x = 0, .ofs_y = 5},
    {.bitmap_index = 432, .adv_w = 140, .box_w = 7, .box_h = 7, .ofs_x = 0, .ofs_y = 0},
    {.bitmap_index = 439, .adv_w = 140, .box_w = 7, .box_h = 9, .ofs_x = 0, .ofs_y = 0},
    {.bitmap_index = 447, .adv_w = 112, .box_w = 5, .box_h = 7, .ofs_x = 0, .ofs_y = 0},
    {.bitmap_index = 452, .adv_w = 140, .box_w = 7, .box_h = 9, .ofs_x = 0, .ofs_y = 0},
    {.bitmap_index = 460, .adv_w = 140, .box_w = 7, .box_h = 7, .ofs_x = 0, .ofs_y = 0},
    {.bitmap_index = 467, .adv_w = 112, .box_w = 5, .box_h = 9, .ofs_x = 0, .ofs_y = 0},
    {.bitmap_index = 473, .adv_w = 140, .box_w = 7, .box_h = 10, .ofs_x = 0, .ofs_y = -3},
    {.bitmap_index = 482, .adv_w = 140, .box_w = 7, .box_h = 9, .ofs_x = 0, .ofs_y = 0},
    {.bitmap_index = 490, .adv_w = 56, .box_w = 2, .box_h = 9, .ofs_x = 0, .ofs_y = 0},
    {.bitmap_index = 493, .adv_w = 84, .box_w = 4, .box_h = 12, .ofs_x = 0, .ofs_y = -3},
    {.bitmap_index = 499, .adv_w = 140, .box_w = 7, .box_h = 9, .ofs_x = 0, .ofs_y = 0},
    {.bitmap_index = 507, .adv_w = 56, .box_w = 2, .box_h = 9, .ofs_x = 0, .ofs_y = 0},
    {.bitmap_index = 510, .adv_w = 168, .box_w = 9, .box_h = 7, .ofs_x = 0, .ofs_y = 0},
    {.bitmap_index = 518, .adv_w = 140, .box_w = 7, .box_h = 7, .ofs_x = 0, .ofs_y = 0},
    {.bitmap_index = 525, .adv_w = 140, .box_w = 7, .box_h = 7, .ofs_x = 0, .ofs_y = 0},
    {.bitmap_index = 532, .adv_w = 140, .box_w = 7, .box_h = 10, .ofs_x = 0, .ofs_y = -3},
    {.bitmap_index = 541, .adv_w = 140, .box_w = 7, .box_h = 10, .ofs_x = 0, .ofs_y = -3},
    {.bitmap_index = 550, .adv_w = 112, .box_w = 5, .box_h = 7, .ofs_x = 0, .ofs_y = 0},
    {.bitmap_index = 555, .adv_w = 140, .box_w = 7, .box_h = 7, .ofs_x = 0, .ofs_y = 0},
    {.bitmap_index = 562, .adv_w = 112, .box_w = 5, .box_h = 9, .ofs_x = 0, .ofs_y = 0},
    {.bitmap_index = 568, .adv_w = 140, .box_w = 7, .box_h = 7, .ofs_x = 0, .ofs_y = 0},
    {.bitmap_index = 575, .adv_w = 140, .box_w = 7, .box_h = 7, .ofs_x = 0, .ofs_y = 0},
    {.bitmap_index = 582, .adv_w = 168, .box_w = 9, .box_h = 7, .ofs_x = 0, .ofs_y = 0},
    {.bitmap_index = 590, .adv_w = 112, .box_w = 5, .box_h = 7, .ofs_x = 0, .ofs_y = 0},
    {.bitmap_index = 595, .adv_w = 140, .box_w = 7, .box_h = 10, .ofs_x = 0, .ofs_y = -3},
    {.bitmap_index = 604, .adv_w = 140, .box_w = 7, .box_h = 7, .ofs_x = 0, .ofs_y = 0},
    {.bitmap_index = 611, .adv_w = 112, .box_w = 6, .box_h = 9, .ofs_x = 0, .ofs_y = 0},
    {.bitmap_index = 618, .adv_w = 56, .box_w = 2, .box_h = 9, .ofs_x = 0, .ofs_y = 0},
    {.bitmap_index = 621, .adv_w = 112, .box_w = 6, .box_h = 9, .ofs_x = 0, .ofs_y = 0},
    {.bitmap_index = 628, .adv_w = 140, .box_w = 7, .box_h = 4, .ofs_x = 0, .ofs_y = 5},
    {.bitmap_index = 632, .adv_w = 224, .box_w = 14, .box_h = 13, .ofs_x = 0, .ofs_y = -1},
    {.bitmap_index = 655, .adv_w = 256, .box_w = 15, .box_h = 11, .ofs_x = 0, .ofs_y = 0},
    {.bitmap_index = 676, .adv_w = 288, .box_w = 18, .box_h = 10, .ofs_x = 0, .ofs_y = 0},
    {.bitmap_index = 699, .adv_w = 288, .box_w = 18, .box_h = 10, .ofs_x = 0, .ofs_y = 0}
};

/*---------------------
 *  CHARACTER MAPPING
 *--------------------*/

static const uint16_t unicode_list_1[] = {
    0x0, 0x17a, 0x1cf, 0x1d1
};

/*Collect the unicode lists and glyph_id offsets*/
static const lv_font_fmt_txt_cmap_t cmaps[] =
{
    {
        .range_start = 33, .range_length = 94, .glyph_id_start = 1,
        .unicode_list = NULL, .glyph_id_ofs_list = NULL, .list_length = 0, .type = LV_FONT_FMT_TXT_CMAP_FORMAT0_TINY
    },
    {
        .range_start = 61553, .range_length = 466, .glyph_id_start = 95,
        .unicode_list = unicode_list_1, .glyph_id_ofs_list = NULL, .list_length = 4, .type = LV_FONT_FMT_TXT_CMAP_SPARSE_TINY
    }
};



/*--------------------
 *  ALL CUSTOM DATA
 *--------------------*/

#if LVGL_VERSION_MAJOR == 8
/*Store all the custom data of the font*/
static  lv_font_fmt_txt_glyph_cache_t cache;
#endif

#if LVGL_VERSION_MAJOR >= 8
static const lv_font_fmt_txt_dsc_t font_dsc = {
#else
static lv_font_fmt_txt_dsc_t font_dsc = {
#endif
    .glyph_bitmap = glyph_bitmap,
    .glyph_dsc = glyph_dsc,
    .cmaps = cmaps,
    .kern_dsc = NULL,
    .kern_scale = 0,
    .cmap_num = 2,
    .bpp = 1,
    .kern_classes = 0,
    .bitmap_format = 0,
#if LVGL_VERSION_MAJOR == 8
    .cache = &cache
#endif

};

extern const lv_font_t lv_font_montserrat_14;


/*-----------------
 *  PUBLIC FONT
 *----------------*/

/*Initialize a public general font descriptor*/
#if LVGL_VERSION_MAJOR >= 8
const lv_font_t lv_font_font04b03 = {
#else
lv_font_t lv_font_font04b03 = {
#endif
    .get_glyph_dsc = lv_font_get_glyph_dsc_fmt_txt,    /*Function pointer to get glyph's data*/
    .get_glyph_bitmap = lv_font_get_bitmap_fmt_txt,    /*Function pointer to get glyph's bitmap*/
    .line_height = 15,          /*The maximum line height required by the font*/
    .base_line = 3,             /*Baseline measured from the bottom of the line*/
#if !(LVGL_VERSION_MAJOR == 6 && LVGL_VERSION_MINOR == 0)
    .subpx = LV_FONT_SUBPX_NONE,
#endif
#if LV_VERSION_CHECK(7, 4, 0) || LVGL_VERSION_MAJOR >= 8
    .underline_position = -2,
    .underline_thickness = 0,
#endif
    .static_bitmap = 0,
    .dsc = &font_dsc,          /*The custom font data. Will be accessed by `get_glyph_bitmap/dsc` */
#if LV_VERSION_CHECK(8, 2, 0) || LVGL_VERSION_MAJOR >= 9
    .fallback = &lv_font_montserrat_14,
#endif
    .user_data = NULL,
};



#endif /*#if FONT04B03*/
```

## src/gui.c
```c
/*
 * SPDX-License-Identifier: Apache-2.0
 */

#include "gui.h"

#include <zephyr/logging/log.h>

#include "time_utils.h"

LOG_MODULE_REGISTER(gui, LOG_LEVEL_DBG);

void gui_init(struct gui_ctx *ctx, uint32_t initial_elapsed)
{
	if (ctx == NULL) {
		return;
	}

	ctx->last_elapsed = UINT32_MAX;
	ctx->last_wifi_active = true;
	ctx->counter_buf[0] = '\0';

	lv_style_init(&ctx->counter_label_style);
	lv_style_set_text_font(&ctx->counter_label_style, &lv_font_spleen);
	lv_style_set_text_align(&ctx->counter_label_style, LV_TEXT_ALIGN_CENTER);
	lv_style_set_text_line_space(&ctx->counter_label_style, 0);

	ctx->counter_label = lv_label_create(lv_screen_active());
	lv_obj_add_style(ctx->counter_label, &ctx->counter_label_style, 0);
	lv_obj_set_width(ctx->counter_label, LV_PCT(100));
	lv_obj_align(ctx->counter_label, LV_ALIGN_CENTER, 0, 0);

	lv_style_init(&ctx->wifi_label_style);
	lv_style_set_text_font(&ctx->wifi_label_style, &lv_font_icons);

	ctx->wifi_label = lv_label_create(lv_screen_active());
	lv_obj_add_style(ctx->wifi_label, &ctx->wifi_label_style, 0);
	lv_obj_align(ctx->wifi_label, LV_ALIGN_BOTTOM_RIGHT, -2, -3);

	gui_set_counter(ctx, initial_elapsed);
	gui_set_wifi_active(ctx, false);
}

void gui_set_counter(struct gui_ctx *ctx, uint32_t elapsed)
{
	if (ctx == NULL || ctx->counter_label == NULL ||
	    elapsed == ctx->last_elapsed) {
		return;
	}

	ctx->last_elapsed = elapsed;
	time_utils_format_elapsed(elapsed, ctx->counter_buf,
				  sizeof(ctx->counter_buf));
	lv_label_set_text(ctx->counter_label, ctx->counter_buf);
}

void gui_set_wifi_active(struct gui_ctx *ctx, bool active)
{
	if (ctx == NULL || ctx->wifi_label == NULL ||
	    active == ctx->last_wifi_active) {
		return;
	}

	ctx->last_wifi_active = active;
	lv_label_set_text(ctx->wifi_label, active ? LV_SYMBOL_WIFI : "");
}
```

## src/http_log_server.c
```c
/*
 * Minimal HTTP server exposing the in-RAM log ring buffer.
 *
 *  GET /       : HTML page with the latest log snapshot plus auto-refresh
 *  GET /logs   : text/plain snapshot of the rolling log window
 *
 * SPDX-License-Identifier: Apache-2.0
 */

#include "http_log_server.h"
#include "log_backend_web.h"

#include <errno.h>
#include <stdio.h>
#include <string.h>

#include <zephyr/kernel.h>
#include <zephyr/logging/log.h>
#include <zephyr/net/socket.h>

LOG_MODULE_REGISTER(http_log, LOG_LEVEL_INF);

static const uint16_t http_port = 80;
static const char index_html_head[] =
	"<!DOCTYPE html><html><head><meta charset=\"utf-8\">"
	"<title>time-since-box logs</title>"
	"<style>body{font-family:monospace;background:#111;color:#ddd;margin:0;padding:1em}"
	"a{color:#8cc2ff}pre{white-space:pre-wrap;word-break:break-word}</style></head>"
	"<body><h3>time-since-box — recent log</h3>"
	"<p><a href=\"/logs\">Open raw /logs</a></p><pre id=\"l\">";
static const char index_html_tail[] =
	"</pre><script>"
	"async function r(){try{const t=await(await fetch('/logs')).text();"
	"const e=document.getElementById('l');const b=e.scrollHeight-e.scrollTop-e.clientHeight<32;"
	"e.textContent=t;if(b)window.scrollTo(0,document.body.scrollHeight);}catch(e){}}"
	"setInterval(r,2000);"
	"</script></body></html>";

static K_MUTEX_DEFINE(server_lock);
static K_SEM_DEFINE(server_start_sem, 0, 1);

static int listen_fd = -1;
static bool server_enabled;

static uint8_t logs_scratch[4096];
static uint8_t page_scratch[12288];

static size_t append_str(uint8_t *dst, size_t pos, size_t max, const char *src)
{
	while (*src != '\0' && pos < max) {
		dst[pos++] = (uint8_t)*src++;
	}

	return pos;
}

static size_t append_escaped(uint8_t *dst, size_t pos, size_t max,
			     const uint8_t *src, size_t len)
{
	for (size_t i = 0; i < len && pos < max; i++) {
		switch (src[i]) {
		case '&':
			pos = append_str(dst, pos, max, "&amp;");
			break;
		case '<':
			pos = append_str(dst, pos, max, "&lt;");
			break;
		case '>':
			pos = append_str(dst, pos, max, "&gt;");
			break;
		default:
			dst[pos++] = src[i];
			break;
		}
	}

	return pos;
}

static bool http_server_is_enabled(void)
{
	bool enabled;

	k_mutex_lock(&server_lock, K_FOREVER);
	enabled = server_enabled;
	k_mutex_unlock(&server_lock);

	return enabled;
}

static void http_server_set_listen_fd(int fd)
{
	k_mutex_lock(&server_lock, K_FOREVER);
	listen_fd = fd;
	k_mutex_unlock(&server_lock);
}

static int http_server_sendall(int fd, const void *buf, size_t len)
{
	const uint8_t *ptr = buf;

	while (len > 0) {
		ssize_t out = zsock_send(fd, ptr, len, 0);

		if (out < 0) {
			return -errno;
		}

		ptr += out;
		len -= out;
	}

	return 0;
}

static size_t http_server_build_page(void)
{
	size_t log_len = log_backend_web_snapshot(logs_scratch, sizeof(logs_scratch));
	size_t pos = 0;

	pos = append_str(page_scratch, pos, sizeof(page_scratch), index_html_head);
	pos = append_escaped(page_scratch, pos, sizeof(page_scratch),
			     logs_scratch, log_len);
	pos = append_str(page_scratch, pos, sizeof(page_scratch), index_html_tail);

	return pos;
}

static int http_server_reply(int client_fd, const char *content_type,
			     const void *body, size_t body_len)
{
	char header[256];
	int header_len;

	header_len = snprintk(header, sizeof(header),
			      "HTTP/1.1 200 OK\r\n"
			      "Connection: close\r\n"
			      "Content-Type: %s\r\n"
			      "Content-Length: %u\r\n"
			      "\r\n",
			      content_type, (unsigned int)body_len);
	if (header_len <= 0 || header_len >= sizeof(header)) {
		return -ENOMEM;
	}

	if (http_server_sendall(client_fd, header, header_len) < 0) {
		return -EIO;
	}

	if (body_len > 0 && http_server_sendall(client_fd, body, body_len) < 0) {
		return -EIO;
	}

	return 0;
}

static void http_server_handle_client(int client_fd)
{
	char req[256];
	ssize_t len = zsock_recv(client_fd, req, sizeof(req) - 1, 0);

	if (len <= 0) {
		return;
	}

	req[len] = '\0';

	if (strncmp(req, "GET /logs", 9) == 0) {
		size_t body_len = log_backend_web_snapshot(logs_scratch,
							 sizeof(logs_scratch));
		(void)http_server_reply(client_fd, "text/plain; charset=utf-8",
					logs_scratch, body_len);
		return;
	}

	size_t body_len = http_server_build_page();
	(void)http_server_reply(client_fd, "text/html; charset=utf-8",
				page_scratch, body_len);
}

static int http_server_open_socket(void)
{
	struct sockaddr_in addr = {
		.sin_family = AF_INET,
		.sin_port = htons(http_port),
		.sin_addr = { .s_addr = htonl(INADDR_ANY) },
	};
	struct zsock_pollfd pfd;
	int fd;
	int ret;

	fd = zsock_socket(AF_INET, SOCK_STREAM, IPPROTO_TCP);
	if (fd < 0) {
		return -errno;
	}

	ret = zsock_setsockopt(fd, SOL_SOCKET, SO_REUSEADDR,
			       &(int){1}, sizeof(int));
	if (ret < 0) {
		ret = -errno;
		zsock_close(fd);
		return ret;
	}

	ret = zsock_bind(fd, (struct sockaddr *)&addr, sizeof(addr));
	if (ret < 0) {
		ret = -errno;
		zsock_close(fd);
		return ret;
	}

	ret = zsock_listen(fd, 1);
	if (ret < 0) {
		ret = -errno;
		zsock_close(fd);
		return ret;
	}

	http_server_set_listen_fd(fd);

	LOG_INF("HTTP log viewer listening on http://<device-ip>:%u/", http_port);

	pfd.fd = fd;
	pfd.events = ZSOCK_POLLIN;
	pfd.revents = 0;

	while (http_server_is_enabled()) {
		ret = zsock_poll(&pfd, 1, 500);
		if (ret < 0) {
			ret = -errno;
			break;
		}

		if (ret == 0 || !(pfd.revents & ZSOCK_POLLIN)) {
			continue;
		}

		int client_fd = zsock_accept(fd, NULL, NULL);
		if (client_fd < 0) {
			ret = -errno;
			break;
		}

		http_server_handle_client(client_fd);
		(void)zsock_close(client_fd);
	}

	http_server_set_listen_fd(-1);
	(void)zsock_close(fd);

	return ret;
}

static void http_log_server_thread(void *arg1, void *arg2, void *arg3)
{
	ARG_UNUSED(arg1);
	ARG_UNUSED(arg2);
	ARG_UNUSED(arg3);

	while (true) {
		k_sem_take(&server_start_sem, K_FOREVER);

		while (http_server_is_enabled()) {
			int ret = http_server_open_socket();

			if (!http_server_is_enabled()) {
				break;
			}

			LOG_ERR("HTTP log server stopped unexpectedly: %d", ret);
			k_sleep(K_MSEC(500));
		}
	}
}

K_THREAD_DEFINE(http_log_server_tid, 3072, http_log_server_thread,
		NULL, NULL, NULL, K_LOWEST_APPLICATION_THREAD_PRIO, 0, 0);

int http_log_server_start(void)
{
	k_mutex_lock(&server_lock, K_FOREVER);
	if (server_enabled) {
		k_mutex_unlock(&server_lock);
		return -EALREADY;
	}

	server_enabled = true;
	k_mutex_unlock(&server_lock);

	k_sem_give(&server_start_sem);
	return 0;
}

int http_log_server_stop(void)
{
	int fd_to_close = -1;

	k_mutex_lock(&server_lock, K_FOREVER);
	if (!server_enabled) {
		k_mutex_unlock(&server_lock);
		return -EALREADY;
	}

	server_enabled = false;
	fd_to_close = listen_fd;
	listen_fd = -1;
	k_mutex_unlock(&server_lock);

	if (fd_to_close >= 0) {
		(void)zsock_close(fd_to_close);
	}

	LOG_INF("HTTP log viewer stopped");
	return 0;
}
```
